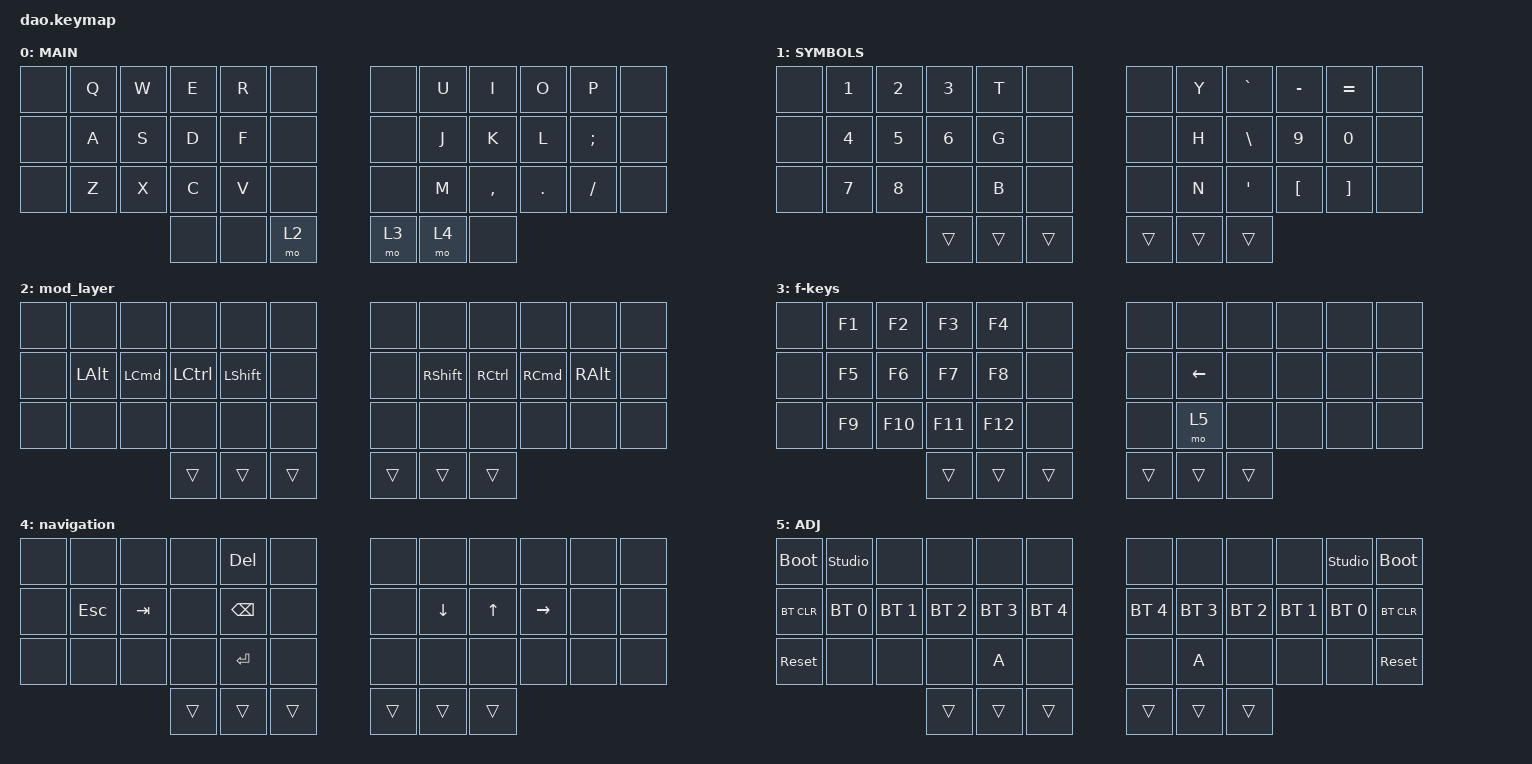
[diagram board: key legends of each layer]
/*
 * Copyright (c) 2021 Rafael Yumagulov
 *
 * SPDX-License-Identifier: MIT
 */

#include <behaviors.dtsi>
#include <dt-bindings/zmk/bt.h>
#include <dt-bindings/zmk/keys.h>

#define DEF 0
#define LWR 1
#define RSE 2
#define ADJ 3

&lt { quick_tap_ms = <200>; };

&mt { quick_tap_ms = <200>; };

&sk { quick-release; };

/ {
    chosen {
        zmk,physical_layout = &dao_crkbd_layout;

        // zmk,physical_layout = &dao_full_layout;
    };
};

/ {
    combos {
        compatible = "zmk,combos";

        caps {
            bindings = <&kp CAPS>;
            key-positions = <38 16 19>;
        };

        kp-t {
            bindings = <&kp T>;
            key-positions = <37 4>;
        };

        kp-g {
            bindings = <&kp G>;
            key-positions = <37 16>;
        };

        kp-b {
            bindings = <&kp B>;
            key-positions = <37 28>;
        };

        kp-y {
            bindings = <&kp Y>;
            key-positions = <37 7>;
        };

        kp-h {
            bindings = <&kp H>;
            key-positions = <37 19>;
        };

        kp-n {
            bindings = <&kp N>;
            key-positions = <37 31>;
        };

        kp-grave {
            bindings = <&kp GRAVE>;
            key-positions = <37 8>;
        };

        kp-backslash {
            bindings = <&kp BACKSLASH>;
            key-positions = <37 20>;
        };

        kp-quote {
            bindings = <&kp SINGLE_QUOTE>;
            key-positions = <37 32>;
        };

        kp-minus {
            bindings = <&kp MINUS>;
            key-positions = <37 9>;
        };

        kp-9 {
            bindings = <&kp NUMBER_9>;
            key-positions = <37 21>;
        };

        kp-left-bracket {
            bindings = <&kp LEFT_BRACKET>;
            key-positions = <37 33>;
        };

        kp-equal {
            bindings = <&kp EQUAL>;
            key-positions = <37 10>;
        };

        kp-0 {
            bindings = <&kp NUMBER_0>;
            key-positions = <37 22>;
        };

        kp-right-bracket {
            bindings = <&kp RIGHT_BRACKET>;
            key-positions = <37 34>;
        };

        kp-1 {
            bindings = <&kp NUMBER_1>;
            key-positions = <1 37>;
        };

        kp-2 {
            bindings = <&kp NUMBER_2>;
            key-positions = <2 37>;
        };

        kp-3 {
            bindings = <&kp NUMBER_3>;
            key-positions = <37 3>;
        };

        kp-4 {
            bindings = <&kp NUMBER_4>;
            key-positions = <37 13>;
        };

        kp-5 {
            bindings = <&kp NUMBER_5>;
            key-positions = <37 14>;
        };

        kp-6 {
            bindings = <&kp NUMBER_6>;
            key-positions = <37 15>;
        };

        kp-7 {
            bindings = <&kp NUMBER_7>;
            key-positions = <37 25>;
        };

        kp-8 {
            bindings = <&kp NUMBER_8>;
            key-positions = <37 26>;
        };

        kp-esc {
            bindings = <&kp ESCAPE>;
            key-positions = <40 13>;
        };

        kp-tab {
            bindings = <&kp TAB>;
            key-positions = <40 14>;
        };

        kp-space {
            bindings = <&kp SPACE>;
            key-positions = <40 15>;
        };

        kp-backspace {
            bindings = <&kp BACKSPACE>;
            key-positions = <40 16>;
        };

        kp-delete {
            bindings = <&kp DELETE>;
            key-positions = <40 4>;
        };

        kp-enter {
            bindings = <&kp ENTER>;
            key-positions = <40 28>;
        };

        sk-left-shift {
            bindings = <&sk LEFT_SHIFT>;
            key-positions = <38 16>;
        };

        sk-left-control {
            bindings = <&sk LEFT_CONTROL>;
            key-positions = <38 15>;
        };

        sk-left-command {
            bindings = <&sk LEFT_COMMAND>;
            key-positions = <38 14>;
        };

        sk-left-alt {
            bindings = <&sk LEFT_ALT>;
            key-positions = <38 13>;
        };

        sk-right-shift {
            bindings = <&sk RIGHT_SHIFT>;
            key-positions = <38 19>;
        };

        sk-right-control {
            bindings = <&sk RIGHT_CONTROL>;
            key-positions = <38 20>;
        };

        sk-right-command {
            bindings = <&sk RIGHT_COMMAND>;
            key-positions = <38 21>;
        };

        sk-right-alt {
            bindings = <&sk RIGHT_ALT>;
            key-positions = <38 22>;
        };
    };

    keymap {
        compatible = "zmk,keymap";

        default_layer {
            display-name = "MAIN";
            bindings = <
  &none  &kp Q  &kp W  &kp E  &kp R  &none    &none  &kp U  &kp I      &kp O    &kp P     &none
  &none  &kp A  &kp S  &kp D  &kp F  &none    &none  &kp J  &kp K      &kp L    &kp SEMI  &none
  &none  &kp Z  &kp X  &kp C  &kp V  &none    &none  &kp M  &kp COMMA  &kp DOT  &kp FSLH  &none
                       &none  &none  &mo 2    &mo 3  &mo 4  &none
            >;
        };

        extra_layer {
            display-name = "SYMBOLS";
            bindings = <
  &none  &kp N1  &kp N2  &kp N3  &kp T   &none     &none   &kp Y   &kp GRAVE  &kp MINUS  &kp EQUAL  &none
  &none  &kp N4  &kp N5  &kp N6  &kp G   &none     &none   &kp H   &kp BSLH   &kp N9     &kp N0     &none
  &none  &kp N7  &kp N8  &none   &kp B   &none     &none   &kp N   &kp SQT    &kp LBKT   &kp RBKT   &none
                         &trans  &trans  &trans    &trans  &trans  &trans
            >;
        };

        mod_layer {
            bindings = <
  &none  &none         &none             &none             &none           &none     &none   &none            &none              &none              &none          &none
  &none  &kp LEFT_ALT  &kp LEFT_COMMAND  &kp LEFT_CONTROL  &kp LEFT_SHIFT  &none     &none   &kp RIGHT_SHIFT  &kp RIGHT_CONTROL  &kp RIGHT_COMMAND  &kp RIGHT_ALT  &none
  &none  &none         &none             &none             &none           &none     &none   &none            &none              &none              &none          &none
                                         &trans            &trans          &trans    &trans  &trans           &trans
            >;
        };

        control_layer {
            display-name = "f-keys";
            bindings = <
  &none  &kp F1  &kp F2   &kp F3   &kp F4   &none     &none   &none     &none   &none  &none  &none
  &none  &kp F5  &kp F6   &kp F7   &kp F8   &none     &none   &kp LEFT  &none   &none  &none  &none
  &none  &kp F9  &kp F10  &kp F11  &kp F12  &none     &none   &mo 5     &none   &none  &none  &none
                          &trans   &trans   &trans    &trans  &trans    &trans
            >;
        };

        navigation_layer {
            display-name = "navigation";
            bindings = <
  &none  &none       &none    &none   &kp DEL        &none     &none   &none     &none   &none      &none  &none
  &none  &kp ESCAPE  &kp TAB  &none   &kp BACKSPACE  &none     &none   &kp DOWN  &kp UP  &kp RIGHT  &none  &none
  &none  &none       &none    &none   &kp ENTER      &none     &none   &none     &none   &none      &none  &none
                              &trans  &trans         &trans    &trans  &trans    &trans
            >;
        };

        adjust_layer {
            display-name = "ADJ";
            bindings = <
  &bootloader  &studio_unlock  &none         &none         &none         &none           &none         &none         &none         &none         &studio_unlock  &bootloader
  &bt BT_CLR   &bt BT_SEL 0    &bt BT_SEL 1  &bt BT_SEL 2  &bt BT_SEL 3  &bt BT_SEL 4    &bt BT_SEL 4  &bt BT_SEL 3  &bt BT_SEL 2  &bt BT_SEL 1  &bt BT_SEL 0    &bt BT_CLR
  &sys_reset   &none           &none         &none         &kp A         &none           &none         &kp A         &none         &none         &none           &sys_reset
                                             &trans        &trans        &trans          &trans        &trans        &trans
            >;
        };
    };
};
